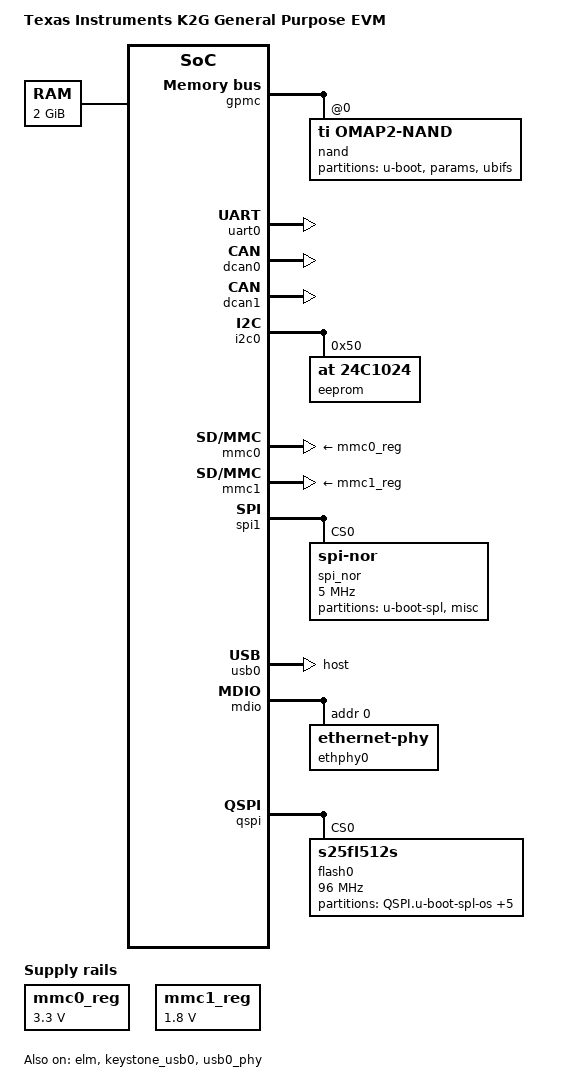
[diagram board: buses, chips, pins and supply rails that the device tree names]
/*
 * Device Tree Source for K2G EVM
 *
 * Copyright (C) 2015 Texas Instruments Incorporated - http://www.ti.com/
 *
 * This program is free software; you can redistribute it and/or modify
 * it under the terms of the GNU General Public License version 2 as
 * published by the Free Software Foundation.
 *
 * This program is distributed "as is" WITHOUT ANY WARRANTY of any
 * kind, whether express or implied; without even the implied warranty
 * of MERCHANTABILITY or FITNESS FOR A PARTICULAR PURPOSE.  See the
 * GNU General Public License for more details.
 */
/dts-v1/;

#include "k2g.dtsi"

/ {
	compatible =  "ti,k2g-evm", "ti,k2g", "ti,keystone";
	model = "Texas Instruments K2G General Purpose EVM";

	memory {
		device_type = "memory";
		reg = <0x00000008 0x00000000 0x00000000 0x80000000>;
	};

	reserved-memory {
		#address-cells = <2>;
		#size-cells = <2>;
		ranges;

		dsp_common_cma_pool: dsp_common_cma_pool {
			compatible = "shared-dma-pool";
			reg = <0x00000008 0x1f800000 0x00000000 0x800000>;
			reusable;
		};

		dsp_common_mpm_area: dsp_reserved_mpm_area {
			compatible = "shared-dma-pool";
			reg = <0x00000008 0x20000000 0x00000000 0x20000000>;
			no-map;
			status = "okay";
		};
	};

	mmc0_reg: fixedregulator-mmc0 {
		compatible = "regulator-fixed";
		regulator-name = "mmc0_fixed";
		regulator-min-microvolt = <3300000>;
		regulator-max-microvolt = <3300000>;
		regulator-always-on;
	};

	mmc1_reg: fixedregulator-mmc1 {
		compatible = "regulator-fixed";
		regulator-name = "mmc1_fixed";
		regulator-min-microvolt = <1800000>;
		regulator-max-microvolt = <1800000>;
		regulator-always-on;
	};

	soc {
		mpm_mem: dspmem {
			compatible = "ti,keystone-dsp-mem";
			reg = <0x0c000000 0x00100000>,
			      <0xa0000000 0x20000000>;
		};
	};
};

&k2g_pinctrl {
	uart0_pins: pinmux_uart0_pins {
		pinctrl-single,pins = <
			K2G_CORE_IOPAD(0x11cc) (BUFFER_CLASS_B | PULL_DISABLE | MUX_MODE0)	/* uart0_rxd.uart0_rxd */
			K2G_CORE_IOPAD(0x11d0) (BUFFER_CLASS_B | PIN_PULLDOWN | MUX_MODE0)	/* uart0_txd.uart0_txd */
		>;
	};

	i2c0_pins: pinmux_i2c0_pins {
		pinctrl-single,pins = <
			K2G_CORE_IOPAD(0x137c) (BUFFER_CLASS_B | PIN_PULLUP | MUX_MODE0)	/* i2c0_scl.i2c0_scl */
			K2G_CORE_IOPAD(0x1380) (BUFFER_CLASS_B | PIN_PULLUP | MUX_MODE0)	/* i2c0_sda.i2c0_sda */
		>;
	};

	mmc0_pins: pinmux_mmc0_pins {
		pinctrl-single,pins = <
			K2G_CORE_IOPAD(0x1300) (BUFFER_CLASS_B | PIN_PULLUP | MUX_MODE2)	/* mmc0_dat3.mmc0_dat3 */
			K2G_CORE_IOPAD(0x1304) (BUFFER_CLASS_B | PIN_PULLUP | MUX_MODE2)	/* mmc0_dat2.mmc0_dat2 */
			K2G_CORE_IOPAD(0x1308) (BUFFER_CLASS_B | PIN_PULLUP | MUX_MODE2)	/* mmc0_dat1.mmc0_dat1 */
			K2G_CORE_IOPAD(0x130c) (BUFFER_CLASS_B | PIN_PULLUP | MUX_MODE2)	/* mmc0_dat0.mmc0_dat0 */
			K2G_CORE_IOPAD(0x1310) (BUFFER_CLASS_B | PIN_PULLUP | MUX_MODE2)	/* mmc0_clk.mmc0_clk */
			K2G_CORE_IOPAD(0x1314) (BUFFER_CLASS_B | PIN_PULLUP | MUX_MODE2)	/* mmc0_cmd.mmc0_cmd */
			K2G_CORE_IOPAD(0x12ec) (BUFFER_CLASS_B | PIN_PULLUP | MUX_MODE2)	/* mmc0_sdcd.mmc0_sdcd */
		>;
	};

	mmc1_pins: pinmux_mmc1_pins {
		pinctrl-single,pins = <
			K2G_CORE_IOPAD(0x10ec) (BUFFER_CLASS_B | PIN_PULLUP | MUX_MODE0)	/* mmc1_dat7.mmc1_dat7 */
			K2G_CORE_IOPAD(0x10f0) (BUFFER_CLASS_B | PIN_PULLUP | MUX_MODE0)	/* mmc1_dat6.mmc1_dat6 */
			K2G_CORE_IOPAD(0x10f4) (BUFFER_CLASS_B | PIN_PULLUP | MUX_MODE0)	/* mmc1_dat5.mmc1_dat5 */
			K2G_CORE_IOPAD(0x10f8) (BUFFER_CLASS_B | PIN_PULLUP | MUX_MODE0)	/* mmc1_dat4.mmc1_dat4 */
			K2G_CORE_IOPAD(0x10fc) (BUFFER_CLASS_B | PIN_PULLUP | MUX_MODE0)	/* mmc1_dat3.mmc1_dat3 */
			K2G_CORE_IOPAD(0x1100) (BUFFER_CLASS_B | PIN_PULLUP | MUX_MODE0)	/* mmc1_dat2.mmc1_dat2 */
			K2G_CORE_IOPAD(0x1104) (BUFFER_CLASS_B | PIN_PULLUP | MUX_MODE0)	/* mmc1_dat1.mmc1_dat1 */
			K2G_CORE_IOPAD(0x1108) (BUFFER_CLASS_B | PIN_PULLUP | MUX_MODE0)	/* mmc1_dat0.mmc1_dat0 */
			K2G_CORE_IOPAD(0x110c) (BUFFER_CLASS_B | PIN_PULLUP | MUX_MODE0)	/* mmc1_clk.mmc1_clk */
			K2G_CORE_IOPAD(0x1110) (BUFFER_CLASS_B | PIN_PULLUP | MUX_MODE0)	/* mmc1_cmd.mmc1_cmd */
		>;
	};

	spi1_pins: pinmux_spi1_pins {
		pinctrl-single,pins = <
			K2G_CORE_IOPAD(0x11a4) (BUFFER_CLASS_B | PULL_DISABLE | MUX_MODE0)	/* spi1_scs0.spi1_scs0 */
			K2G_CORE_IOPAD(0x11ac) (BUFFER_CLASS_B | PULL_DISABLE | MUX_MODE0)	/* spi1_clk.spi1_clk */
			K2G_CORE_IOPAD(0x11b0) (BUFFER_CLASS_B | PULL_DISABLE | MUX_MODE0)	/* spi1_miso.spi1_miso */
			K2G_CORE_IOPAD(0x11b4) (BUFFER_CLASS_B | PULL_DISABLE | MUX_MODE0)	/* spi1_mosi.spi1_mosi */
		>;
	};

	dcan0_pins: pinmux_dcan0_pins {
		pinctrl-single,pins = <
			K2G_CORE_IOPAD(0x11fc) (BUFFER_CLASS_B | PULL_DISABLE  | MUX_MODE0) /* dcan0tx.dcan0tx */
			K2G_CORE_IOPAD(0x1200) (BUFFER_CLASS_B | PIN_PULLDOWN  | MUX_MODE0) /* dcan0rx.dcan0rx */
		>;
	};

	dcan1_pins: pinmux_dcan1_pins {
		pinctrl-single,pins = <
			K2G_CORE_IOPAD(0x1224) (BUFFER_CLASS_B | PULL_DISABLE  | MUX_MODE1) /* qspicsn2.dcan1tx */
			K2G_CORE_IOPAD(0x1228) (BUFFER_CLASS_B | PIN_PULLDOWN  | MUX_MODE1) /* qspicsn3.dcan1rx */
		>;
	};

	nand_pins: pinmux_nand_pins {
		pinctrl-single,pins = <
			K2G_CORE_IOPAD(0x1000) (BUFFER_CLASS_B | PULL_DISABLE | MUX_MODE0)	/* gpmc_ad0.gpmc_ad0 */
			K2G_CORE_IOPAD(0x1004) (BUFFER_CLASS_B | PULL_DISABLE | MUX_MODE0)	/* gpmc_ad1.gpmc_ad1 */
			K2G_CORE_IOPAD(0x1008) (BUFFER_CLASS_B | PULL_DISABLE | MUX_MODE0)	/* gpmc_ad2.gpmc_ad2 */
			K2G_CORE_IOPAD(0x100c) (BUFFER_CLASS_B | PULL_DISABLE | MUX_MODE0)	/* gpmc_ad3.gpmc_ad3 */
			K2G_CORE_IOPAD(0x1010) (BUFFER_CLASS_B | PULL_DISABLE | MUX_MODE0)	/* gpmc_ad4.gpmc_ad4 */
			K2G_CORE_IOPAD(0x1014) (BUFFER_CLASS_B | PULL_DISABLE | MUX_MODE0)	/* gpmc_ad5.gpmc_ad5 */
			K2G_CORE_IOPAD(0x1018) (BUFFER_CLASS_B | PULL_DISABLE | MUX_MODE0)	/* gpmc_ad6.gpmc_ad6 */
			K2G_CORE_IOPAD(0x101c) (BUFFER_CLASS_B | PULL_DISABLE | MUX_MODE0)	/* gpmc_ad7.gpmc_ad7 */
			K2G_CORE_IOPAD(0x1020) (BUFFER_CLASS_B | PULL_DISABLE | MUX_MODE0)	/* gpmc_ad8.gpmc_ad8 */
			K2G_CORE_IOPAD(0x1024) (BUFFER_CLASS_B | PULL_DISABLE | MUX_MODE0)	/* gpmc_ad9.gpmc_ad9 */
			K2G_CORE_IOPAD(0x1028) (BUFFER_CLASS_B | PULL_DISABLE | MUX_MODE0)	/* gpmc_ad10.gpmc_ad10 */
			K2G_CORE_IOPAD(0x102c) (BUFFER_CLASS_B | PULL_DISABLE | MUX_MODE0)	/* gpmc_ad11.gpmc_ad11 */
			K2G_CORE_IOPAD(0x1030) (BUFFER_CLASS_B | PULL_DISABLE | MUX_MODE0)	/* gpmc_ad12.gpmc_ad12 */
			K2G_CORE_IOPAD(0x1034) (BUFFER_CLASS_B | PULL_DISABLE | MUX_MODE0)	/* gpmc_ad13.gpmc_ad13 */
			K2G_CORE_IOPAD(0x1038) (BUFFER_CLASS_B | PULL_DISABLE | MUX_MODE0)	/* gpmc_ad14.gpmc_ad14 */
			K2G_CORE_IOPAD(0x103c) (BUFFER_CLASS_B | PULL_DISABLE | MUX_MODE0)	/* gpmc_ad15.gpmc_ad15 */
			K2G_CORE_IOPAD(0x1044) (BUFFER_CLASS_B | PULL_DISABLE | MUX_MODE0)	/* gpmc_advnale.gpmc_advnale */
			K2G_CORE_IOPAD(0x1048) (BUFFER_CLASS_B | PULL_DISABLE | MUX_MODE0)	/* gpmc_oenren.gpmc_oenren */
			K2G_CORE_IOPAD(0x104c) (BUFFER_CLASS_B | PULL_DISABLE | MUX_MODE0)	/* gpmc_wen.gpmc_wen */
			K2G_CORE_IOPAD(0x1050) (BUFFER_CLASS_B | PULL_DISABLE | MUX_MODE0)	/* gpmc_beoncle.gpmc_beoncle */
			K2G_CORE_IOPAD(0x1058) (BUFFER_CLASS_B | PIN_PULLUP   | MUX_MODE0)	/* gpmc_wait0.gpmc_wait0 */
			K2G_CORE_IOPAD(0x1060) (BUFFER_CLASS_B | PIN_PULLUP   | MUX_MODE0)	/* gpmc_wpn.gpmc_wpn */
			K2G_CORE_IOPAD(0x1068) (BUFFER_CLASS_B | PULL_DISABLE | MUX_MODE0)	/* gpmc_csn0.gpmc_csn0 */
		>;
	};
};

&elm {
	status = "okay";
};

&gpmc {
	pinctrl-names = "default";
	pinctrl-0 = <&nand_pins>;
	status = "okay";
	ranges = <0 0 0x30000000 0x01000000>;	/* CS0 space. Min partition = 16MB */
	nand@0,0 {
		compatible = "ti,omap2-nand";
		reg = <0 0 4>;			/* CS0, I/O window 4 bytes */
		interrupts = <GIC_SPI 196 IRQ_TYPE_EDGE_RISING>;
		ti,nand-ecc-opt = "bch16";
		ti,elm-id = <&elm>;
		nand-bus-width = <16>;
		gpmc,device-width = <2>;
		gpmc,sync-clk-ps = <0>;
		gpmc,cs-on-ns = <0>;
		gpmc,cs-rd-off-ns = <40>;
		gpmc,cs-wr-off-ns = <40>;
		gpmc,adv-on-ns = <0>;
		gpmc,adv-rd-off-ns = <25>;
		gpmc,adv-wr-off-ns = <25>;
		gpmc,we-on-ns = <0>;
		gpmc,we-off-ns = <20>;
		gpmc,oe-on-ns = <3>;
		gpmc,oe-off-ns = <30>;
		gpmc,access-ns = <30>;
		gpmc,rd-cycle-ns = <40>;
		gpmc,wr-cycle-ns = <40>;
		gpmc,wait-pin = <0>;
		gpmc,bus-turnaround-ns = <0>;
		gpmc,cycle2cycle-delay-ns = <0>;
		gpmc,clk-activation-ns = <0>;
		gpmc,wait-monitoring-ns = <0>;
		gpmc,wr-access-ns = <40>;
		gpmc,wr-data-mux-bus-ns = <0>;
		/* MTD partition table */
		/* All SPL-* partitions are sized to minimal length
		 * which can be independently programmable. For
		 * NAND flash this is equal to size of erase-block
		 */
		#address-cells = <1>;
		#size-cells = <1>;

		nand-on-flash-bbt;
		/* MT29F2G16ABAFAWP - 256MB */
		partition@0 {
			label = "u-boot";
			reg = <0x0 0x100000>;
			read-only;
		};

		partition@100000 {
			label = "params";
			reg = <0x100000 0x80000>;
		};

		partition@180000 {
			label = "ubifs";
			reg = <0x180000 0xfe80000>;
		};
	};
};

&uart0 {
	pinctrl-names = "default";
	pinctrl-0 = <&uart0_pins>;
	status = "okay";
};

&dcan0 {
	pinctrl-names = "default";
	pinctrl-0 = <&dcan0_pins>;
	status = "okay";
};

&dcan1 {
	pinctrl-names = "default";
	pinctrl-0 = <&dcan1_pins>;
	status = "okay";
};

&i2c0 {
	pinctrl-names = "default";
	pinctrl-0 = <&i2c0_pins>;
	status = "okay";

	eeprom@50 {
		compatible = "at,24c1024";
		reg = <0x50>;
	};
};

&mmc0 {
	pinctrl-names = "default";
	pinctrl-0 = <&mmc0_pins>;
	vmmc-supply = <&mmc0_reg>;
	status = "okay";
};

&mmc1 {
	pinctrl-names = "default";
	pinctrl-0 = <&mmc1_pins>;
	vmmc-supply = <&mmc1_reg>;
	status = "okay";
};

&spi1 {
	pinctrl-names = "default";
	pinctrl-0 = <&spi1_pins>;
	status = "okay";

	spi_nor: flash@0 {
		#address-cells = <1>;
		#size-cells = <1>;
		compatible = "jedec,spi-nor";
		spi-max-frequency = <5000000>;
		m25p,fast-read;
		reg = <0>;

		partition@0 {
			label = "u-boot-spl";
			reg = <0x0 0x80000>;
			read-only;
		};

		partition@1 {
			label = "misc";
			reg = <0x80000 0xf80000>;
		};
	};
};

&keystone_usb0 {
	status = "okay";
};

&usb0_phy {
	status = "okay";
};

&usb0 {
	dr_mode = "host";
	status = "okay";
};

&mdio {
	status = "okay";
	ethphy0: ethernet-phy@0 {
		reg = <0>;
		phy-mode = "rgmii-id";
	};
};

&gbe0 {
	phy-handle = <&ethphy0>;
};

&dsp0 {
	memory-region = <&dsp_common_cma_pool>;
};

&qspi {
	status = "okay";

	flash0: m25p80@0 {
		compatible = "s25fl512s", "jedec,spi-nor";
		reg = <0>;
		spi-tx-bus-width = <1>;
		spi-rx-bus-width = <4>;
		spi-max-frequency = <96000000>;
		#address-cells = <1>;
		#size-cells = <1>;
		cdns,read-delay = <5>;
		cdns,tshsl-ns = <500>;
		cdns,tsd2d-ns = <500>;
		cdns,tchsh-ns = <119>;
		cdns,tslch-ns = <119>;

		partition@0 {
			label = "QSPI.u-boot-spl-os";
			reg = <0x00000000 0x00100000>;
		};
		partition@1 {
			label = "QSPI.u-boot-env";
			reg = <0x00100000 0x00040000>;
		};
		partition@2 {
			label = "QSPI.skern";
			reg = <0x00140000 0x0040000>;
		};
		partition@3 {
			label = "QSPI.pmmc-firmware";
			reg = <0x00180000 0x0040000>;
		};
		partition@4 {
			label = "QSPI.kernel";
			reg = <0x001C0000 0x0800000>;
		};
		partition@5 {
			label = "QSPI.file-system";
			reg = <0x009C0000 0x3640000>;
		};
	};
};
